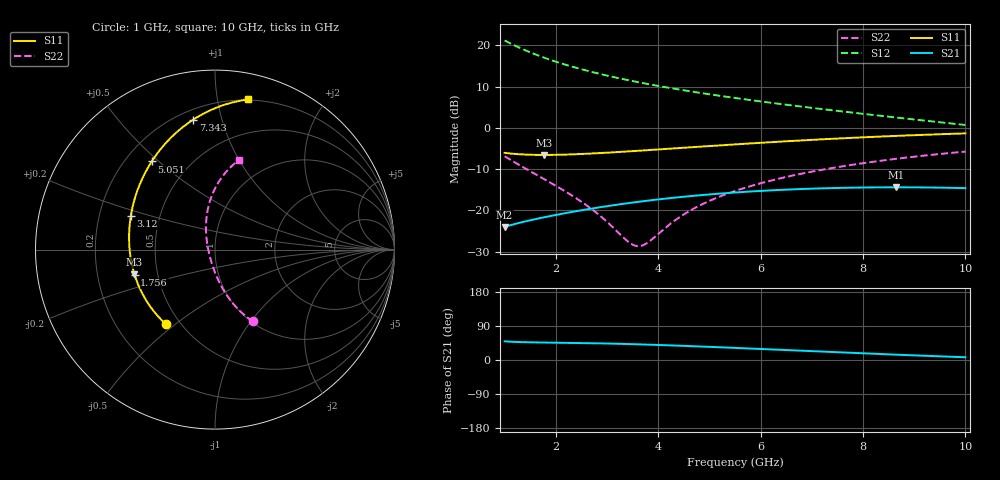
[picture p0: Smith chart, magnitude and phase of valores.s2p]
# Hz S RI R 50
! Freq.	S11(V2)	S12(V2)	S21(V2)	S22(V2)
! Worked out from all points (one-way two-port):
!   10001 points, 1 GHz to 10 GHz, reference 50 ohm
!   highest |S21| = -14.42 dB at 8.654 GHz (marker M1); lowest = -24.0 dB at 1 GHz (marker M2)
!   lowest |S11| = -6.6 dB at 1.766 GHz (marker M3), VSWR 2.77, Z = 18.4 - j6.51 ohm
!   |S11| at or under -10 dB: nowhere
!   |S22| runs from -28.7 to -5.8 dB; largest |S21 - S12| = 11
!   S11 on the Smith chart (normalised r, x): 1 GHz: 0.42, -0.46; 1.756 GHz: 0.37, -0.13; 3.12 GHz: 0.34, +0.17; 5.051 GHz: 0.31, +0.47; 7.343 GHz: 0.26, +0.81; 10 GHz: 0.19, +1.23
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1e9  -0.2726 -0.4162  0.041 0.0476  -3.497 10.94  0.2118 -0.4005
1.161716e9  -0.3355 -0.3504  0.045 0.0499  -2.158 9.986  0.1589 -0.3602
1.243942e9  -0.3602 -0.318  0.0468 0.0511  -1.623 9.525  0.1375 -0.3405
1.331374e9  -0.3823 -0.2848  0.0486 0.0525  -1.138 9.057  0.118 -0.3204
1.52827e9  -0.4196 -0.2146  0.0525 0.0555  -0.2879 8.099  0.0831 -0.2786
1.755901e9  -0.4476 -0.1411  0.0568 0.0591  0.3999 7.146  0.0539 -0.2359
1.766445e9  -0.4486 -0.1379  0.057 0.0592  0.4261 7.106  0.0527 -0.2341
2.097008e9  -0.4702 -0.0441  0.0631 0.0645  1.066 5.98  0.0236 -0.1813
2.500345e9  -0.4786 0.0552  0.071 0.0706  1.531 4.906  -0.000167 -0.1271
2.796405e9  -0.4768 0.1201  0.077 0.0747  1.741 4.27  -0.0128 -0.0921
3.119608e9  -0.4693 0.1851  0.084 0.0788  1.892 3.684  -0.0237 -0.0571
3.583439e9  -0.451 0.27  0.0945 0.0835  2.014 2.991  -0.0353 -0.0105
4.000369e9  -0.4285 0.3395  0.1043 0.0866  2.06 2.48  -0.0427 0.0291
4.501943e9  -0.3953 0.4158  0.1162 0.0886  2.065 1.97  -0.0483 0.0752
5.051263e9  -0.3524 0.4912  0.1292 0.0887  2.026 1.51  -0.0502 0.1246
5.500473e9  -0.3131 0.5471  0.1395 0.0871  1.97 1.194  -0.0486 0.1645
6.220138e9  -0.2432 0.6261  0.1545 0.0817  1.85 0.7786  -0.0395 0.2274
7.000032e9  -0.1601 0.6972  0.1681 0.0725  1.694 0.4284  -0.0204 0.2935
7.343448e9  -0.1218 0.7237  0.173 0.0676  1.621 0.3014  -0.00899 0.3215
8.501587e9  0.0119 0.7923  0.1837 0.0487  1.365 -0.0267  0.0422 0.4085
8.653663e9  0.0297 0.799  0.1845 0.0461  1.332 -0.06  0.0503 0.4189
1e10  0.1851 0.8366  0.1843 0.0234  1.048 -0.2757  0.132 0.4982
